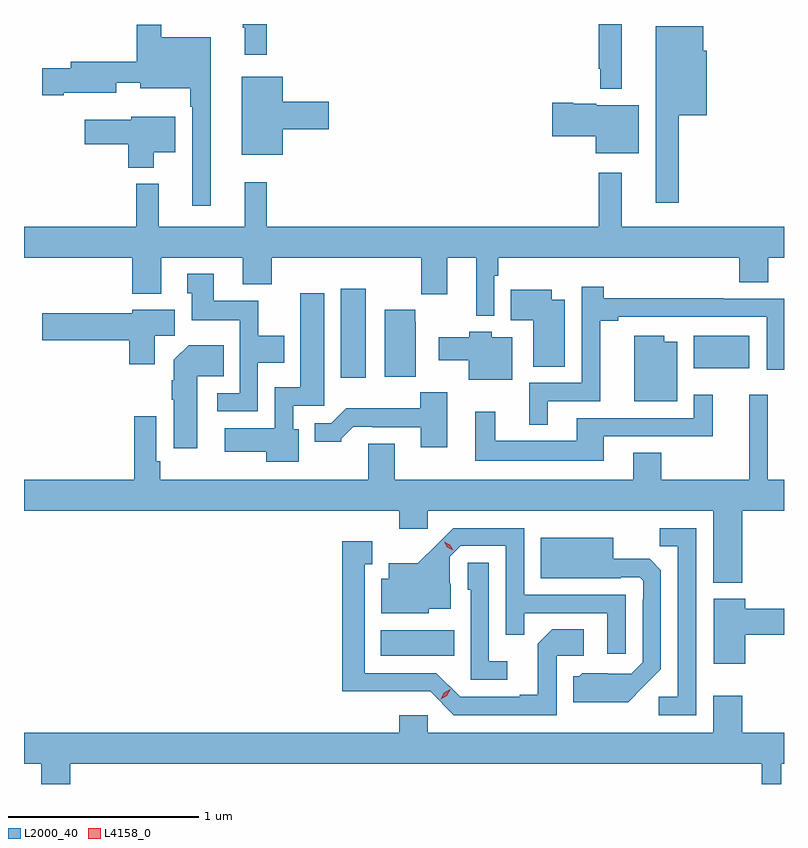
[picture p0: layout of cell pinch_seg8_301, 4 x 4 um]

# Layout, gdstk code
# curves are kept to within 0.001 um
import gdstk
lib = gdstk.Library(unit=1e-6, precision=1e-09)
def R(c, l, rs):  # rectangles x0, y0, x1, y1
    for r in rs: c.add(gdstk.rectangle(r[:2], r[2:], *l))
def P(c, l, *ps):  # polygons
    for p in ps: c.add(gdstk.Polygon(p, *l))
L2000_40 = (2000, 40)
L4158_0 = (4158, 0)

pinch_seg8_301 = lib.new_cell('pinch_seg8_301')
R(pinch_seg8_301, L2000_40, [(514.769,1155.698,515.156,1155.832), (514.559,1157.16,514.69,1157.629), (516.416,1157.21,516.709,1157.38)])
P(pinch_seg8_301, L2000_40, [(516.037,1159.022),(515.916,1159.022),(515.916,1158.787),(515.923,1158.787),(515.923,1158.68),(516.037,1158.68)],
  [(514.169,1159.022),(514.041,1159.022),(514.041,1159.001),(514.052,1159.001),(514.052,1158.861),(514.169,1158.861)],
  [(513.874,1158.952),(513.613,1158.952),(513.613,1159.018),(513.484,1159.018),(513.484,1158.823),(513.137,1158.823),(513.137,1158.789),(512.988,1158.789),(512.988,1158.647),(513.1,1158.647),(513.1,1158.659),(513.376,1158.659),(513.376,1158.713),(513.503,1158.713),(513.503,1158.683),(513.765,1158.683),(513.765,1158.587),(513.777,1158.587),(513.777,1158.066),(513.874,1158.066)],
  [(516.337,1158.542),(516.484,1158.542),(516.484,1158.882),(516.466,1158.882),(516.466,1159.009),(516.215,1159.009),(516.215,1158.081),(516.337,1158.081)],
  [(514.252,1158.467),(514.495,1158.467),(514.495,1158.614),(514.252,1158.614),(514.252,1158.745),(514.037,1158.745),(514.037,1158.335),(514.252,1158.335)],
  [(516.127,1158.595),(515.904,1158.595),(515.904,1158.601),(515.782,1158.601),(515.782,1158.608),(515.67,1158.608),(515.67,1158.43),(515.9,1158.43),(515.9,1158.341),(516.127,1158.341)],
  [(513.574,1158.347),(513.688,1158.347),(513.688,1158.535),(513.456,1158.535),(513.456,1158.517),(513.21,1158.517),(513.21,1158.388),(513.44,1158.388),(513.44,1158.266),(513.574,1158.266)],
  [(515.367,1157.696),(515.387,1157.696),(515.387,1157.792),(516.656,1157.792),(516.656,1157.662),(516.808,1157.662),(516.808,1157.792),(516.891,1157.792),(516.891,1157.956),(516.037,1157.956),(516.037,1158.238),(515.916,1158.238),(515.916,1157.956),(514.169,1157.956),(514.169,1158.19),(514.052,1158.19),(514.052,1157.956),(513.599,1157.956),(513.599,1158.181),(513.481,1158.181),(513.481,1157.956),(512.891,1157.956),(512.891,1157.792),(513.461,1157.792),(513.461,1157.603),(513.613,1157.603),(513.613,1157.792),(514.043,1157.792),(514.043,1157.651),(514.196,1157.651),(514.196,1157.792),(514.981,1157.792),(514.981,1157.599),(515.119,1157.599),(515.119,1157.792),(515.27,1157.792),(515.27,1157.486),(515.367,1157.486)],
  [(514.122,1157.24),(514.261,1157.24),(514.261,1157.38),(514.125,1157.38),(514.125,1157.566),(513.889,1157.566),(513.889,1157.707),(513.749,1157.707),(513.749,1157.604),(513.773,1157.604),(513.773,1157.462),(514.026,1157.462),(514.026,1157.079),(513.909,1157.079),(513.909,1156.983),(514.122,1156.983)],
  [(515.647,1157.037),(515.924,1157.037),(515.924,1157.461),(516.019,1157.461),(516.019,1157.481),(516.801,1157.481),(516.801,1157.202),(516.891,1157.202),(516.891,1157.577),(516.572,1157.577),(516.572,1157.579),(515.942,1157.579),(515.942,1157.638),(515.826,1157.638),(515.826,1157.133),(515.549,1157.133),(515.549,1156.913),(515.647,1156.913)],
  [(515.737,1157.572),(515.668,1157.572),(515.668,1157.623),(515.452,1157.623),(515.452,1157.462),(515.57,1157.462),(515.57,1157.218),(515.737,1157.218)],
  [(514.336,1156.89),(514.308,1156.89),(514.308,1157.013),(514.471,1157.013),(514.471,1157.605),(514.346,1157.605),(514.346,1157.11),(514.212,1157.11),(514.212,1156.894),(513.948,1156.894),(513.948,1156.772),(514.165,1156.772),(514.165,1156.718),(514.336,1156.718)],
  [(514.952,1157.313),(514.954,1157.313),(514.954,1157.454),(514.95,1157.454),(514.95,1157.519),(514.79,1157.519),(514.79,1157.165),(514.952,1157.165)],
  [(513.58,1157.38),(513.685,1157.38),(513.685,1157.518),(513.462,1157.518),(513.462,1157.499),(512.988,1157.499),(512.988,1157.357),(513.446,1157.357),(513.446,1157.232),(513.58,1157.232)],
  [(515.461,1157.374),(515.352,1157.374),(515.352,1157.401),(515.235,1157.401),(515.235,1157.374),(515.073,1157.374),(515.073,1157.252),(515.231,1157.252),(515.231,1157.15),(515.461,1157.15)],
  [(516.328,1157.35),(516.262,1157.35),(516.262,1157.38),(516.104,1157.38),(516.104,1157.036),(516.328,1157.036)],
  [(513.802,1157.168),(513.941,1157.168),(513.941,1157.332),(513.758,1157.332),(513.68,1157.254),(513.68,1157.147),(513.668,1157.147),(513.668,1157.044),(513.68,1157.044),(513.68,1156.788),(513.802,1156.788)],
  [(515.119,1157.083),(514.977,1157.083),(514.977,1156.999),(514.588,1156.999),(514.509,1156.92),(514.421,1156.92),(514.421,1156.823),(514.56,1156.823),(514.56,1156.838),(514.624,1156.902),(514.723,1156.902),(514.723,1156.899),(514.979,1156.899),(514.979,1156.794),(515.119,1156.794)],
  [(516.671,1156.46),(516.891,1156.46),(516.891,1156.624),(516.806,1156.624),(516.806,1157.071),(516.707,1157.071),(516.707,1156.624),(516.246,1156.624),(516.246,1156.766),(516.098,1156.766),(516.098,1156.624),(514.843,1156.624),(514.843,1156.814),(514.703,1156.814),(514.703,1156.624),(513.608,1156.624),(513.608,1156.72),(513.588,1156.72),(513.588,1156.957),(513.472,1156.957),(513.472,1156.624),(512.891,1156.624),(512.891,1156.46),(514.865,1156.46),(514.865,1156.365),(515.016,1156.365),(515.016,1156.46),(516.518,1156.46),(516.518,1156.082),(516.671,1156.082)],
  [(515.941,1156.851),(516.515,1156.851),(516.515,1157.071),(516.417,1157.071),(516.417,1156.947),(515.801,1156.947),(515.801,1156.828),(515.371,1156.828),(515.371,1156.981),(515.267,1156.981),(515.267,1156.724),(515.941,1156.724)],
  [(516.057,1156.017),(515.523,1156.017),(515.523,1156.368),(515.15,1156.368),(514.963,1156.183),(514.811,1156.183),(514.811,1156.102),(514.772,1156.102),(514.772,1155.92),(515.022,1155.92),(515.022,1155.944),(515.137,1155.944),(515.137,1156.076),(515.133,1156.076),(515.133,1156.218),(515.19,1156.275),(515.427,1156.275),(515.427,1155.808),(515.525,1155.808),(515.525,1155.921),(515.961,1155.921),(515.961,1155.708),(516.057,1155.708)],
  [(516.429,1156.368),(516.238,1156.368),(516.238,1156.273),(516.333,1156.273),(516.333,1155.48),(516.231,1155.48),(516.231,1155.384),(516.429,1155.384)],
  [(516.151,1155.533),(516.243,1155.626),(516.243,1156.148),(516.184,1156.207),(515.992,1156.207),(515.992,1156.318),(515.612,1156.318),(515.612,1156.106),(516.032,1156.106),(516.032,1156.11),(516.132,1156.11),(516.15,1156.092),(516.15,1155.992),(516.147,1155.992),(516.147,1155.663),(516.087,1155.603),(515.83,1155.604),(515.814,1155.588),(515.783,1155.588),(515.783,1155.452),(516.071,1155.452)],
  [(515.694,1155.696),(515.836,1155.696),(515.836,1155.836),(515.671,1155.836),(515.595,1155.76),(515.595,1155.493),(515.501,1155.493),(515.501,1155.48),(515.187,1155.48),(515.061,1155.606),(514.684,1155.606),(514.684,1156.179),(514.723,1156.179),(514.723,1156.3),(514.566,1156.3),(514.566,1155.509),(515.028,1155.51),(515.154,1155.384),(515.694,1155.384)],
  [(515.434,1155.667),(515.337,1155.667),(515.337,1156.187),(515.226,1156.187),(515.226,1156.044),(515.241,1156.044),(515.241,1155.57),(515.434,1155.57)],
  [(516.688,1155.808),(516.891,1155.808),(516.891,1155.944),(516.688,1155.944),(516.688,1155.997),(516.521,1155.997),(516.521,1155.654),(516.688,1155.654)],
  [(513.134,1155.128),(516.773,1155.128),(516.773,1155.022),(516.877,1155.022),(516.877,1155.128),(516.891,1155.128),(516.891,1155.292),(516.671,1155.292),(516.671,1155.487),(516.518,1155.487),(516.518,1155.292),(515.016,1155.292),(515.016,1155.385),(514.865,1155.385),(514.865,1155.292),(512.891,1155.292),(512.891,1155.128),(512.981,1155.128),(512.981,1155.022),(513.134,1155.022)])
P(pinch_seg8_301, L4158_0, [(515.15,1156.251),(515.119,1156.267),(515.102,1156.297),(515.102,1156.297),(515.102,1156.297),(515.133,1156.281),(515.15,1156.252),(515.15,1156.251)],
  [(515.084,1155.468),(515.084,1155.468),(515.102,1155.501),(515.134,1155.52),(515.134,1155.52),(515.134,1155.519),(515.116,1155.487),(515.084,1155.468)])

lib.write_gds('pinch_seg8_301.gds')
